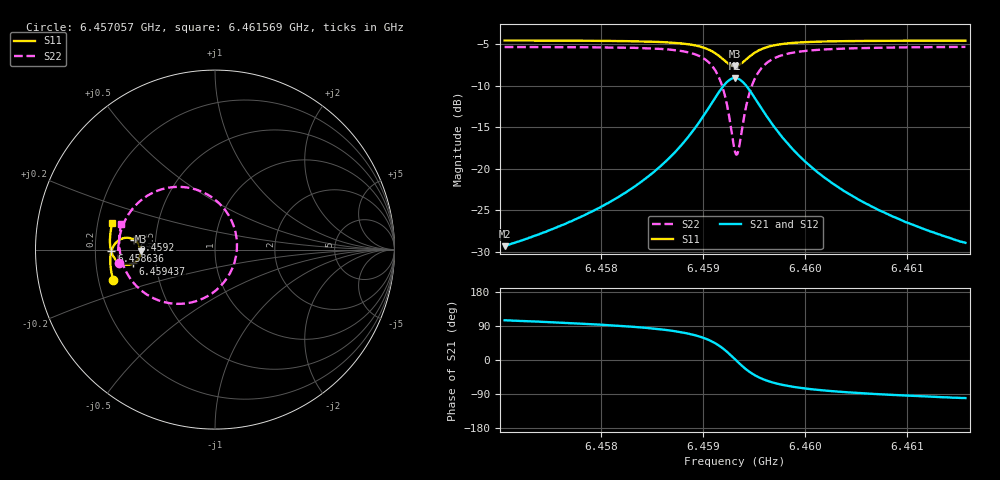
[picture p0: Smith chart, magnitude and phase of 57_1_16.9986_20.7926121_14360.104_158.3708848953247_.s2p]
#  HZ  S  RI  R  50.00
! Rohde & Schwarz Vector Network Analyzer
! Rohde-Schwarz,ZNB20-2Port,1311601062101988,3.16
! Created: UTC 3/20/2024, 10:54:38 PM
! freq[Hz]  re:S11  im:S11  re:S21  im:S21  re:S12  im:S12  re:S22  im:S22
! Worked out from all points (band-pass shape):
!   401 points, 6.457057 GHz to 6.461569 GHz, reference 50 ohm
!   highest |S21| = -9.07 dB at 6.459313 GHz (marker M1); lowest = -29.3 dB at 6.457057 GHz (marker M2)
!   |S21| within 3 dB of the highest: 6.459086 GHz to 6.459538 GHz (451.3 kHz wide, 0.00699 % of centre)
!   lowest |S11| = -7.7 dB at 6.459313 GHz (marker M3), VSWR 2.42, Z = 20.7 - j0.504 ohm
!   |S11| at or under -10 dB: nowhere
!   |S22| runs from -18.3 to -5.3 dB; largest |S21 - S12| = 0.014
!   S11 on the Smith chart (normalised r, x): 6.457057 GHz: 0.26, -0.13; 6.458636 GHz: 0.27, -0.01; 6.4592 GHz: 0.38, +0.05; 6.459437 GHz: 0.37, -0.07; 6.461569 GHz: 0.26, +0.12
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6.4570566e9  -0.5677 -0.1675  -0.00875 0.0331  -0.00692 0.0331  -0.535 -0.0767
6.4578124e9  -0.5811 -0.101  -0.00534 0.0515  -0.00267 0.0508  -0.539 0.0128
6.4582185e9  -0.5836 -0.0601  0.000711 0.0706  0.00401 0.069  -0.5301 0.078
6.4585681e9  -0.5793 -0.0178  0.0152 0.1005  0.0192 0.0977  -0.5033 0.1582
6.4586358e9  -0.5771 -0.00828  0.0208 0.1091  0.0249 0.1058  -0.4928 0.178
6.4588276e9  -0.564 0.0222  0.048 0.1403  0.052 0.1354  -0.4415 0.2476
6.4589742e9  -0.5408 0.0485  0.0944 0.1712  0.0975 0.1644  -0.3558 0.3122
6.4591095e9  -0.496 0.0659  0.1834 0.1874  0.1844 0.1801  -0.1932 0.3494
6.4591998e9  -0.4505 0.0549  0.2749 0.1548  0.2752 0.1489  -0.0241 0.2959
6.4592675e9  -0.4211 0.0217  0.3357 0.0809  0.3382 0.0755  0.0916 0.1621
6.4593126e9  -0.4144 -0.0101  0.3517 0.0113  0.3557 0.00447  0.1224 0.0324
6.4593464e9  -0.4184 -0.0343  0.3452 -0.0418  0.3494 -0.0512  0.1094 -0.0687
6.4593915e9  -0.4345 -0.0609  0.3158 -0.1023  0.3179 -0.1145  0.049 -0.1829
6.4594367e9  -0.4571 -0.0774  0.2725 -0.1437  0.2716 -0.1572  -0.0384 -0.2576
6.4595269e9  -0.5012 -0.0844  0.1861 -0.1745  0.1798 -0.1863  -0.2101 -0.3022
6.4595946e9  -0.5259 -0.077  0.1371 -0.1721  0.129 -0.1812  -0.3046 -0.286
6.4596735e9  -0.5457 -0.0638  0.097 -0.1598  0.0884 -0.1659  -0.3796 -0.2504
6.4598315e9  -0.5677 -0.0361  0.0517 -0.1312  0.044 -0.1339  -0.4603 -0.177
6.4600683e9  -0.5807 -0.000609  0.0224 -0.099  0.0163 -0.0995  -0.5083 -0.0936
6.4603954e9  -0.5854 0.0389  0.00653 -0.0723  0.00233 -0.0719  -0.5291 -0.0161
6.4608241e9  -0.5837 0.0824  -0.00153 -0.0526  -0.00445 -0.0518  -0.5335 0.0542
6.4615685e9  -0.5719 0.1487  -0.00651 -0.0352  -0.00829 -0.0343  -0.5222 0.1431
